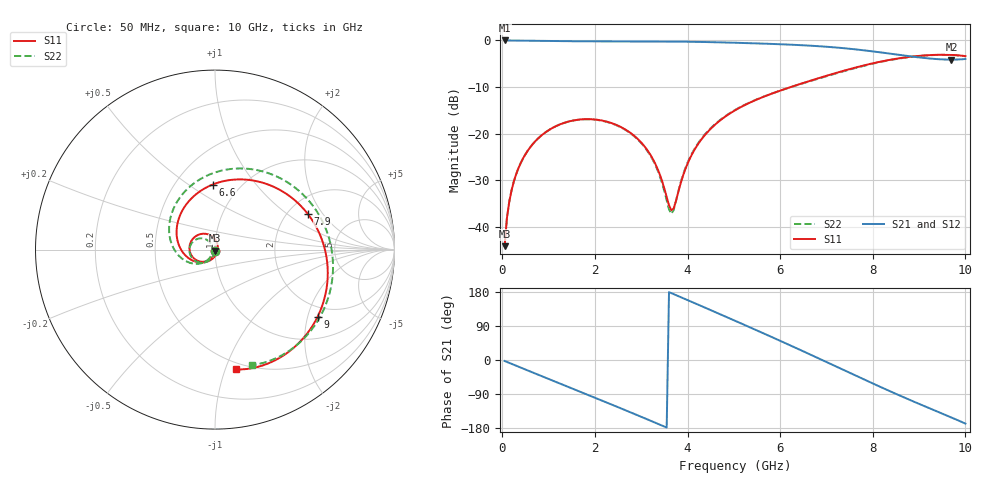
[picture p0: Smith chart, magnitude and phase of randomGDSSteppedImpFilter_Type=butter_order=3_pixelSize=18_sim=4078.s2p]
! freq	dB(S11)	phase(S11)	dB(S12)	phase(S12)
!  dB(S21)	phase(S21)	dB(S22)	phase(S22)
!S-par simulation data
#  GHz  S  DB  R 50
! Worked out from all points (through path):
!   200 points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, 50 MHz to 10 GHz, reference 50 ohm
!   highest |S21| = 0.00 dB at 50 MHz (marker M1); lowest = -4.1 dB at 9.7 GHz (marker M2)
!   group delay of S21, straight-line fit = 148 ps
!   lowest |S11| = -44.1 dB at 50 MHz (marker M3), VSWR 1.01, Z = 50 - j0.62 ohm
!   |S11| at or under -10 dB: start of sweep to 6.228 GHz
!   |S22| runs from -44.1 to -3.1 dB; largest |S21 - S12| = 0
!   S11 on the Smith chart (normalised r, x): 50 MHz: 1.00, -0.01; 6.6 GHz: 0.75, +0.63; 7.9 GHz: 2.53, +1.46; 9 GHz: 1.65, -2.31; 10 GHz: 0.44, -1.09
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0.05  -44.15 -92.1  -0.00 -2.6  -0.00 -2.6  -44.14 -91.9
0.1  -38.13 -95.0  -0.01 -5.1  -0.01 -5.1  -38.13 -94.6
0.2  -32.15 -100.4  -0.02 -10.1  -0.02 -10.1  -32.14 -99.6
0.5  -24.42 -116.4  -0.05 -25.1  -0.05 -25.1  -24.42 -114.2
1.15  -18.43 -150.9  -0.13 -57.5  -0.13 -57.5  -18.43 -145.4
1.75  -16.91 177.3  -0.19 -87.2  -0.19 -87.2  -16.93 -173.6
2.25  -17.41 150.2  -0.21 -112.0  -0.21 -112.0  -17.46 163.7
2.75  -19.71 121.4  -0.21 -137.1  -0.21 -137.1  -19.79 142.1
3.4  -28.73 70.0  -0.22 -170.5  -0.22 -170.5  -29.08 126.3
3.65  -36.45 -3.9  -0.24 176.5  -0.24 176.5  -37.21 179.9
3.95  -27.69 -95.5  -0.27 160.8  -0.27 160.8  -27.48 -122.5
4.2  -22.66 -119.3  -0.31 147.6  -0.31 147.6  -22.49 -126.2
5.05  -14.85 -175.6  -0.50 102.3  -0.50 102.3  -14.78 -161.6
5.75  -11.67 141.9  -0.72 64.4  -0.72 64.4  -11.65 164.5
6.6  -8.81 92.0  -1.09 17.3  -1.09 17.3  -8.88 119.5
6.7  -8.49 86.3  -1.15 11.7  -1.15 11.7  -8.57 113.9
7.25  -6.85 55.6  -1.55 -19.5  -1.55 -19.5  -6.96 82.4
7.9  -5.14 21.1  -2.23 -56.3  -2.23 -56.3  -5.22 44.0
8.35  -4.19 -1.7  -2.81 -81.2  -2.81 -81.2  -4.26 17.7
9  -3.31 -33.2  -3.64 -115.8  -3.64 -115.8  -3.35 -18.7
9.7  -3.10 -65.7  -4.12 -151.8  -4.12 -151.8  -3.12 -55.9
10  -3.37 -80.0  -3.98 -167.8  -3.98 -167.8  -3.40 -72.2
